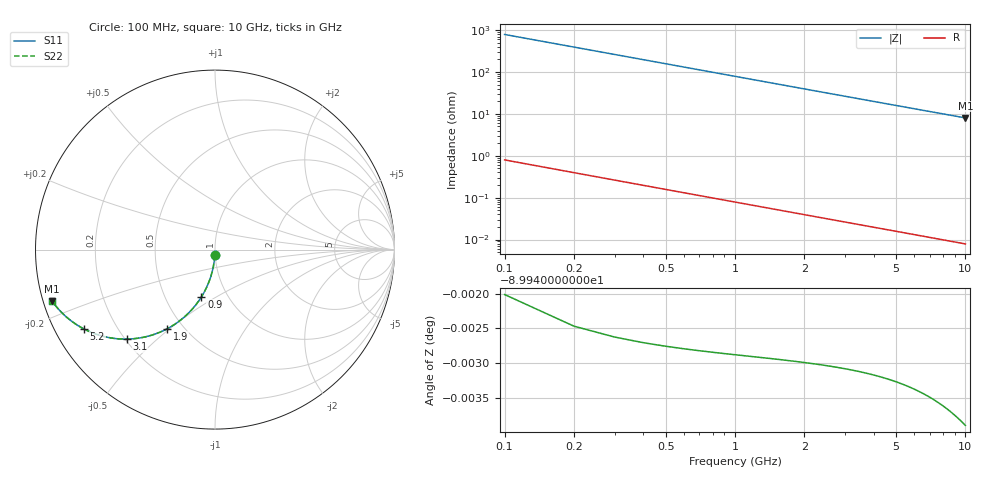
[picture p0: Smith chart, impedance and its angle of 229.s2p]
# Hz S RI R 50.00
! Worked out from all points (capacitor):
!   100 points, 100 MHz to 10 GHz, reference 50 ohm
!   read as one part in shunt: C = 2.03 pF near 100 MHz
!   lowest |Z| = 8.01 ohm at 10 GHz (marker M1)
!   S11 on the Smith chart (normalised r, x): 100 MHz: 1.00, -0.06; 900 MHz: 0.75, -0.43; 1.9 GHz: 0.41, -0.49; 3.1 GHz: 0.21, -0.40; 5.2 GHz: 0.09, -0.28; 10 GHz: 0.03, -0.15
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1e8  -0.00104 -0.0318  0.999 -0.0318  0.999 -0.0318  -0.00104 -0.0318
2e8  -0.00409 -0.0633  0.9959 -0.0634  0.9959 -0.0634  -0.00409 -0.0633
3e8  -0.00911 -0.0945  0.9909 -0.0946  0.9909 -0.0946  -0.00911 -0.0945
4e8  -0.016 -0.1251  0.9839 -0.1253  0.9839 -0.1253  -0.016 -0.1251
5e8  -0.0248 -0.155  0.9752 -0.1552  0.9752 -0.1552  -0.0248 -0.155
6e8  -0.0353 -0.1839  0.9647 -0.1842  0.9647 -0.1842  -0.0353 -0.1839
7e8  -0.0474 -0.2118  0.9526 -0.2122  0.9526 -0.2122  -0.0474 -0.2118
9e8  -0.0759 -0.2641  0.9241 -0.2645  0.9241 -0.2645  -0.0759 -0.2641
1.1e9  -0.1091 -0.3111  0.8908 -0.3116  0.8908 -0.3116  -0.1091 -0.3111
1.3e9  -0.146 -0.3523  0.854 -0.3529  0.854 -0.3529  -0.146 -0.3523
1.5e9  -0.1852 -0.3876  0.8148 -0.3883  0.8148 -0.3883  -0.1852 -0.3876
1.8e9  -0.2463 -0.43  0.7537 -0.4308  0.7537 -0.4308  -0.2463 -0.43
1.9e9  -0.2669 -0.4414  0.7331 -0.4423  0.7331 -0.4423  -0.2669 -0.4414
2.5e9  -0.3859 -0.4857  0.6141 -0.4869  0.6141 -0.4869  -0.3859 -0.4857
3.1e9  -0.4908 -0.4987  0.5092 -0.5001  0.5092 -0.5001  -0.4908 -0.4987
3.4e9  -0.5366 -0.4974  0.4634 -0.499  0.4634 -0.499  -0.5366 -0.4974
4.2e9  -0.6379 -0.4791  0.3621 -0.4811  0.3621 -0.4811  -0.6379 -0.4791
5.1e9  -0.7214 -0.4466  0.2786 -0.449  0.2786 -0.449  -0.7214 -0.4466
5.2e9  -0.7291 -0.4427  0.2709 -0.4452  0.2709 -0.4452  -0.7291 -0.4427
6.7e9  -0.8165 -0.3849  0.1834 -0.3881  0.1834 -0.3881  -0.8165 -0.3849
8.4e9  -0.8746 -0.3286  0.1254 -0.3327  0.1254 -0.3327  -0.8746 -0.3286
1e10  -0.908 -0.2861  0.092 -0.291  0.092 -0.291  -0.908 -0.2861
